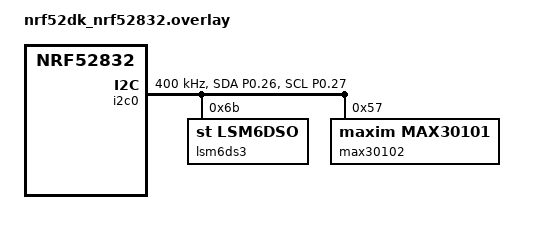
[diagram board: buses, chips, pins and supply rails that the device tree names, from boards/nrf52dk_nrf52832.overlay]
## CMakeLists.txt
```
cmake_minimum_required(VERSION 3.20.0)
find_package(Zephyr REQUIRED HINTS $ENV{ZEPHYR_BASE})

project(bracelet1)
target_include_directories(app PRIVATE include)

target_sources(app PRIVATE 
    src/main.c
    src/imu.c
)
```

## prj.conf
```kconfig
# ========================================
# I2C and Sensor Configuration
# ========================================
CONFIG_I2C=y
CONFIG_SENSOR=y

# ========================================
# LSM6DSO Driver (used for LSM6DS3)
# ========================================
# Note: Zephyr will automatically enable this when device tree has st,lsm6dso

# ========================================
# Logging (helpful for debugging)
# ========================================
CONFIG_LOG=y
CONFIG_LOG_MODE_IMMEDIATE=y
CONFIG_SENSOR_LOG_LEVEL_DBG=y
CONFIG_I2C_LOG_LEVEL_DBG=y

# ========================================
# Console/Serial for printf debugging
# ========================================
CONFIG_CONSOLE=y
CONFIG_UART_CONSOLE=y
CONFIG_SERIAL=y

# ========================================
# Floating Point Support (for sensor data)
# ========================================
CONFIG_CBPRINTF_FP_SUPPORT=y

# ========================================
# Thread Stack Sizes
# ========================================
CONFIG_MAIN_STACK_SIZE=2048
CONFIG_SYSTEM_WORKQUEUE_STACK_SIZE=2048

# ========================================
# Math Library (for calculations)
# ========================================
CONFIG_NEWLIB_LIBC=y
CONFIG_NEWLIB_LIBC_FLOAT_PRINTF=y

# max30102 sensor configuration
CONFIG_MAX30101=y
CONFIG_MAX30101_SPO2_MODE=y
```

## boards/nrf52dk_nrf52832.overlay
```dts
/* LSM6DS3 Sensor Device Tree Overlay */

/* Configure I2C pins if not already set */
&pinctrl {
    i2c0_default: i2c0_default {
        group1 {
            psels = <NRF_PSEL(TWIM_SDA, 0, 26)>,  /* P0.26 for SDA */
                    <NRF_PSEL(TWIM_SCL, 0, 27)>;  /* P0.27 for SCL */
        };
    };

    i2c0_sleep: i2c0_sleep {
        group1 {
            psels = <NRF_PSEL(TWIM_SDA, 0, 26)>,
                    <NRF_PSEL(TWIM_SCL, 0, 27)>;
            low-power-enable;
        };
    };
};

/* Enable and configure I2C bus */
&i2c0 {
    compatible = "nordic,nrf-twim";
    status = "okay";
    clock-frequency = <I2C_BITRATE_FAST>;  /* 400 kHz */
    
    pinctrl-0 = <&i2c0_default>;
    pinctrl-1 = <&i2c0_sleep>;
    pinctrl-names = "default", "sleep";

    /* LSM6DS3 using LSM6DSO driver */
    lsm6ds3: lsm6dso@6b {
        compatible = "st,lsm6dso";  /* Use LSM6DSO driver */
        reg = <0x6b>;                /* I2C address 0x6B */
        status = "okay";
        
        /* Optional: If using interrupt pin */
        /* irq-gpios = <&gpio0 28 GPIO_ACTIVE_HIGH>; */
    };

    //max30102 heart beat sensor
    max30102: max30101@57 {
        compatible = "maxim,max30101"; // using the existing max30101 driver for the max30102 sensor
        reg = <0x57>; // address
        status = "okay";
    };
};
```

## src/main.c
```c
/* Complete Working main.c for LSM6DS3 on nRF52832 - Zephyr 4.1.99 */

#include <zephyr/kernel.h>
#include <zephyr/device.h>
#include <zephyr/drivers/sensor.h>
#include <zephyr/logging/log.h>
#include <stdio.h>
#include <math.h>
#include "imu.h"

LOG_MODULE_REGISTER(app, LOG_LEVEL_INF);


/* Main application */
int main(void)
{
    const struct device *dev;
    accel_data_t accel;
    gyro_data_t gyro;
    int ret;
    
    LOG_INF("LSM6DS3 IMU Application Starting...");
    
    /* Get device */
    dev = get_lsm6ds3_device();
    if (dev == NULL) {
        LOG_ERR("Failed to get sensor device");
        return -1;
    }
    
    /* Configure sensor */
    ret = configure_sensor(dev);
    if (ret != 0) {
        LOG_ERR("Failed to configure sensor");
        return -1;
    }
    
    LOG_INF("Sensor initialized successfully!");
    LOG_INF("Starting data polling...\n");
    
    /* Main polling loop */
    while (1) {
        /* Read IMU data */
        ret = read_imu_data(dev, &accel, &gyro);
        if (ret == 0) {
            /* Print accelerometer data (m/s²) */
            printf("Accel: X=%7.3f  Y=%7.3f  Z=%7.3f m/s²\n",
                   (double)accel.x, (double)accel.y, (double)accel.z);
            
            /* Print gyroscope data (rad/s) */
            printf("Gyro:  X=%7.3f  Y=%7.3f  Z=%7.3f rad/s\n",
                   (double)gyro.x, (double)gyro.y, (double)gyro.z);
            
            /* Calculate and print acceleration magnitude */
            float accel_mag = sqrtf(accel.x * accel.x + 
                                   accel.y * accel.y + 
                                   accel.z * accel.z);
            printf("Accel magnitude: %.3f m/s²\n\n", (double)accel_mag);
        }
        
        /* Poll at ~10 Hz (100ms delay) */
        k_msleep(100);
    }
    
    return 0;
}
```

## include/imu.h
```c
// imu.h
#ifndef IMU_H
#define IMU_H

/* zephyr.h was removed in newer Zephyr versions; include necessary headers directly */
#include <zephyr/kernel.h>
#include <zephyr/device.h>
#include <zephyr/drivers/sensor.h>
#include <zephyr/logging/log.h>
#include <stdio.h>
#include <math.h>

typedef struct {
    float x;
    float y;
    float z;
} accel_data_t;

typedef struct {
    float x;
    float y;
    float z;
} gyro_data_t;

const struct device *get_lsm6ds3_device(void);

int configure_sensor(const struct device *dev);

int read_imu_data(const struct device *dev, 
                  accel_data_t *accel, 
                  gyro_data_t *gyro);

#endif /* IMU_H */
```

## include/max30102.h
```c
/**
 * @file max30102.h
 * @brief MAX30102 Pulse Oximeter and Heart Rate Sensor Driver
 * 
 * This driver provides an interface to the MAX30102 sensor for:
 * - Reading raw PPG (photoplethysmography) data
 * - Configuring LED intensity, sample rate, and ADC resolution
 * - Basic heart rate detection from PPG signals
 */

#ifndef MAX30102_H
#define MAX30102_H

#include <zephyr/device.h>
#include <stdint.h>
#include <stdbool.h>

#ifdef __cplusplus
extern "C" {
#endif

/*
 * ============================================================================
 * Register Definitions
 * ============================================================================
 */

/* Interrupt Status/Enable Registers */
#define MAX30102_REG_INT_STATUS_1       0x00    /* Interrupt status 1 */
#define MAX30102_REG_INT_STATUS_2       0x01    /* Interrupt status 2 */
#define MAX30102_REG_INT_ENABLE_1       0x02    /* Interrupt enable 1 */
#define MAX30102_REG_INT_ENABLE_2       0x03    /* Interrupt enable 2 */

/* FIFO Registers */
#define MAX30102_REG_FIFO_WR_PTR        0x04    /* FIFO write pointer */
#define MAX30102_REG_FIFO_OVF_CNT       0x05    /* FIFO overflow counter */
#define MAX30102_REG_FIFO_RD_PTR        0x06    /* FIFO read pointer */
#define MAX30102_REG_FIFO_DATA          0x07    /* FIFO data register */

/* Configuration Registers */
#define MAX30102_REG_FIFO_CONFIG        0x08    /* FIFO configuration */
#define MAX30102_REG_MODE_CONFIG        0x09    /* Mode configuration */
#define MAX30102_REG_SPO2_CONFIG        0x0A    /* SpO2 configuration */

/* LED Pulse Amplitude Registers */
#define MAX30102_REG_LED1_PA            0x0C    /* LED1 (Red) pulse amplitude */
#define MAX30102_REG_LED2_PA            0x0D    /* LED2 (IR) pulse amplitude */

/* Multi-LED Mode Control */
#define MAX30102_REG_MULTI_LED_CTRL1    0x11    /* Multi-LED mode control 1 */
#define MAX30102_REG_MULTI_LED_CTRL2    0x12    /* Multi-LED mode control 2 */

/* Temperature Registers */
#define MAX30102_REG_TEMP_INT           0x1F    /* Temperature integer */
#define MAX30102_REG_TEMP_FRAC          0x20    /* Temperature fraction */
#define MAX30102_REG_TEMP_CONFIG        0x21    /* Temperature configuration */

/* Part ID Registers */
#define MAX30102_REG_REV_ID             0xFE    /* Revision ID */
#define MAX30102_REG_PART_ID            0xFF    /* Part ID (should be 0x15) */

/* Expected Part ID value */
#define MAX30102_EXPECTED_PART_ID       0x15

/*
 * ============================================================================
 * Configuration Enumerations
 * ============================================================================
 */

/**
 * @brief Operating modes
 * 
 * The MAX30102 can operate in different modes depending on what
 * measurements you need.
 */
typedef enum {
    MAX30102_MODE_HR_ONLY   = 0x02,    /* Heart Rate mode (Red LED only) */
    MAX30102_MODE_SPO2      = 0x03,    /* SpO2 mode (Red + IR LEDs) */
    MAX30102_MODE_MULTI_LED = 0x07,    /* Multi-LED mode (programmable) */
} max30102_mode_t;

/**
 * @brief Sample rates (samples per second)
 * 
 * Higher rates give more resolution but fill the FIFO faster.
 * For heart rate, 50-100 Hz is typically sufficient.
 */
typedef enum {
    MAX30102_SR_50      = 0x00,    /* 50 samples/sec */
    MAX30102_SR_100     = 0x01,    /* 100 samples/sec */
    MAX30102_SR_200     = 0x02,    /* 200 samples/sec */
    MAX30102_SR_400     = 0x03,    /* 400 samples/sec */
    MAX30102_SR_800     = 0x04,    /* 800 samples/sec */
    MAX30102_SR_1000    = 0x05,    /* 1000 samples/sec */
    MAX30102_SR_1600    = 0x06,    /* 1600 samples/sec */
    MAX30102_SR_3200    = 0x07,    /* 3200 samples/sec */
} max30102_sample_rate_t;

/**
 * @brief LED pulse width / ADC resolution
 * 
 * Longer pulse width = more light = better SNR but more power.
 * Also determines ADC resolution.
 */
typedef enum {
    MAX30102_PW_69      = 0x00,    /* 69 µs pulse, 15-bit ADC */
    MAX30102_PW_118     = 0x01,    /* 118 µs pulse, 16-bit ADC */
    MAX30102_PW_215     = 0x02,    /* 215 µs pulse, 17-bit ADC */
    MAX30102_PW_411     = 0x03,    /* 411 µs pulse, 18-bit ADC */
} max30102_pulse_width_t;

/**
 * @brief ADC full-scale range
 * 
 * Determines the maximum signal level before saturation.
 */
typedef enum {
    MAX30102_ADC_2048   = 0x00,    /* 2048 nA full scale */
    MAX30102_ADC_4096   = 0x01,    /* 4096 nA full scale */
    MAX30102_ADC_8192   = 0x02,    /* 8192 nA full scale */
    MAX30102_ADC_16384  = 0x03,    /* 16384 nA full scale */
} max30102_adc_range_t;

/**
 * @brief Sample averaging (FIFO)
 * 
 * Averages multiple samples together to reduce noise.
 * Reduces effective sample rate by the averaging factor.
 */
typedef enum {
    MAX30102_AVG_1      = 0x00,    /* No averaging */
    MAX30102_AVG_2      = 0x01,    /* 2 samples averaged */
    MAX30102_AVG_4      = 0x02,    /* 4 samples averaged */
    MAX30102_AVG_8      = 0x03,    /* 8 samples averaged */
    MAX30102_AVG_16     = 0x04,    /* 16 samples averaged */
    MAX30102_AVG_32     = 0x05,    /* 32 samples averaged */
} max30102_sample_avg_t;

/*
 * ============================================================================
 * Data Structures
 * ============================================================================
 */

/**
 * @brief Sensor configuration structure
 */
struct max30102_config {
    max30102_mode_t         mode;           /* Operating mode */
    max30102_sample_rate_t  sample_rate;    /* Sample rate */
    max30102_pulse_width_t  pulse_width;    /* LED pulse width */
    max30102_adc_range_t    adc_range;      /* ADC range */
    max30102_sample_avg_t   sample_avg;     /* Sample averaging */
    uint8_t                 led1_current;   /* Red LED current (0-255, 0.2mA/step) */
    uint8_t                 led2_current;   /* IR LED current (0-255, 0.2mA/step) */
    bool                    fifo_rollover;  /* Enable FIFO rollover */
};

/**
 * @brief Raw sample data from sensor
 */
struct max30102_sample {
    uint32_t red;       /* Red LED reading (18-bit, right-aligned) */
    uint32_t ir;        /* IR LED reading (18-bit, right-aligned) */
    int64_t  timestamp; /* Kernel timestamp in milliseconds */
};

/**
 * @brief FIFO status information
 */
struct max30102_fifo_status {
    uint8_t write_ptr;      /* Current write pointer */
    uint8_t read_ptr;       /* Current read pointer */
    uint8_t overflow_cnt;   /* Overflow counter */
    uint8_t available;      /* Number of samples available */
};

/**
 * @brief Device handle structure
 */
struct max30102_device {
    const struct device *i2c;           /* I2C device handle */
    struct max30102_config config;      /* Current configuration */
    bool initialized;                   /* Initialization status */
    uint8_t part_id;                    /* Part ID read from device */
    uint8_t rev_id;                     /* Revision ID read from device */
};

/*
 * ============================================================================
 * Function Prototypes
 * ============================================================================
 */

/**
 * @brief Initialize the MAX30102 sensor
 * 
 * This function:
 * - Verifies I2C communication
 * - Reads and validates the Part ID
 * - Performs a software reset
 * - Leaves the device in a known state
 * 
 * @param dev Pointer to device handle structure
 * @param i2c_dev Zephyr I2C device handle
 * @return 0 on success, negative error code on failure
 */
int max30102_init(struct max30102_device *dev, const struct device *i2c_dev);

/**
 * @brief Configure the sensor with specified parameters
 * 
 * @param dev Pointer to initialized device handle
 * @param config Pointer to configuration structure
 * @return 0 on success, negative error code on failure
 */
int max30102_configure(struct max30102_device *dev, 
                       const struct max30102_config *config);

/**
 * @brief Apply default configuration suitable for heart rate monitoring
 * 
 * Default settings:
 * - SpO2 mode (both LEDs)
 * - 100 Hz sample rate
 * - 411 µs pulse width (18-bit)
 * - 4096 nA ADC range
 * - 4-sample averaging
 * - 7mA LED current
 * 
 * @param dev Pointer to initialized device handle
 * @return 0 on success, negative error code on failure
 */
int max30102_configure_default(struct max30102_device *dev);

/**
 * @brief Read available samples from the FIFO
 * 
 * @param dev Pointer to initialized device handle
 * @param samples Array to store samples
 * @param max_samples Maximum number of samples to read
 * @param num_read Pointer to store actual number of samples read
 * @return 0 on success, negative error code on failure
 */
int max30102_read_samples(struct max30102_device *dev,
                          struct max30102_sample *samples,
                          uint8_t max_samples,
                          uint8_t *num_read);

/**
 * @brief Read a single sample (blocking until available)
 * 
 * @param dev Pointer to initialized device handle
 * @param sample Pointer to store the sample
 * @return 0 on success, negative error code on failure
 */
int max30102_read_sample(struct max30102_device *dev,
                         struct max30102_sample *sample);

/**
 * @brief Get FIFO status
 * 
 * @param dev Pointer to initialized device handle
 * @param status Pointer to store FIFO status
 * @return 0 on success, negative error code on failure
 */
int max30102_get_fifo_status(struct max30102_device *dev,
                             struct max30102_fifo_status *status);

/**
 * @brief Clear the FIFO
 * 
 * @param dev Pointer to initialized device handle
 * @return 0 on success, negative error code on failure
 */
int max30102_clear_fifo(struct max30102_device *dev);

/**
 * @brief Read die temperature
 * 
 * @param dev Pointer to initialized device handle
 * @param temperature Pointer to store temperature in °C
 * @return 0 on success, negative error code on failure
 */
int max30102_read_temperature(struct max30102_device *dev, float *temperature);

/**
 * @brief Put device into shutdown mode (low power)
 * 
 * @param dev Pointer to initialized device handle
 * @return 0 on success, negative error code on failure
 */
int max30102_shutdown(struct max30102_device *dev);

/**
 * @brief Wake device from shutdown mode
 * 
 * @param dev Pointer to initialized device handle
 * @return 0 on success, negative error code on failure
 */
int max30102_wakeup(struct max30102_device *dev);

/**
 * @brief Perform software reset
 * 
 * @param dev Pointer to initialized device handle
 * @return 0 on success, negative error code on failure
 */
int max30102_reset(struct max30102_device *dev);

/**
 * @brief Set LED current
 * 
 * @param dev Pointer to initialized device handle
 * @param led1_ma Red LED current in mA (0-51)
 * @param led2_ma IR LED current in mA (0-51)
 * @return 0 on success, negative error code on failure
 */
int max30102_set_led_current(struct max30102_device *dev,
                             float led1_ma, float led2_ma);

#ifdef __cplusplus
}
#endif

#endif /* MAX30102_H */
```

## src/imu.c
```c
#include "imu.h"
#include <zephyr/kernel.h>
#include <zephyr/device.h>
#include <zephyr/drivers/sensor.h>
#include <zephyr/logging/log.h>

LOG_MODULE_REGISTER(imu, LOG_LEVEL_INF);  // Changed from IMU_APP to imu

#define st_lsm6dso DT_NODELABEL(lsm6dso)

const struct device *get_lsm6ds3_device(void)
{
    const struct device *dev = DEVICE_DT_GET_ANY(st_lsm6dso);
    
    if (dev == NULL) {
        LOG_ERR("No LSM6DSO device found in device tree!");
        return NULL;
    }
    
    if (!device_is_ready(dev)) {
        LOG_ERR("Device %s is not ready", dev->name);
        return NULL;
    }
    
    LOG_INF("Found device %s", dev->name);
    return dev;
}

int configure_sensor(const struct device *dev)
{
    struct sensor_value odr;
    int ret;
    
    odr.val1 = 104;
    odr.val2 = 0;
    
    ret = sensor_attr_set(dev, 
                          SENSOR_CHAN_ACCEL_XYZ,
                          SENSOR_ATTR_SAMPLING_FREQUENCY, 
                          &odr);
    if (ret != 0) {
        LOG_ERR("Failed to set accel ODR: %d", ret);
        return ret;
    }
    
    ret = sensor_attr_set(dev, 
                          SENSOR_CHAN_GYRO_XYZ,
                          SENSOR_ATTR_SAMPLING_FREQUENCY, 
                          &odr);
    if (ret != 0) {
        LOG_ERR("Failed to set gyro ODR: %d", ret);
        return ret;
    }
    
    LOG_INF("Sensor configured: ODR = %d Hz", odr.val1);
    return 0;
}

int read_imu_data(const struct device *dev, 
                  accel_data_t *accel, 
                  gyro_data_t *gyro)
{
    int ret;
    struct sensor_value accel_val[3];
    struct sensor_value gyro_val[3];
    
    ret = sensor_sample_fetch(dev);
    if (ret != 0) {
        LOG_ERR("Failed to fetch IMU data: %d", ret);
        return ret;
    }
    
    sensor_channel_get(dev, SENSOR_CHAN_ACCEL_X, &accel_val[0]);
    sensor_channel_get(dev, SENSOR_CHAN_ACCEL_Y, &accel_val[1]);
    sensor_channel_get(dev, SENSOR_CHAN_ACCEL_Z, &accel_val[2]);
    
    sensor_channel_get(dev, SENSOR_CHAN_GYRO_X, &gyro_val[0]);
    sensor_channel_get(dev, SENSOR_CHAN_GYRO_Y, &gyro_val[1]);
    sensor_channel_get(dev, SENSOR_CHAN_GYRO_Z, &gyro_val[2]);
    
    accel->x = sensor_value_to_float(&accel_val[0]);
    accel->y = sensor_value_to_float(&accel_val[1]);
    accel->z = sensor_value_to_float(&accel_val[2]);
    
    gyro->x = sensor_value_to_float(&gyro_val[0]);
    gyro->y = sensor_value_to_float(&gyro_val[1]);
    gyro->z = sensor_value_to_float(&gyro_val[2]);
    
    return 0;
}
```
